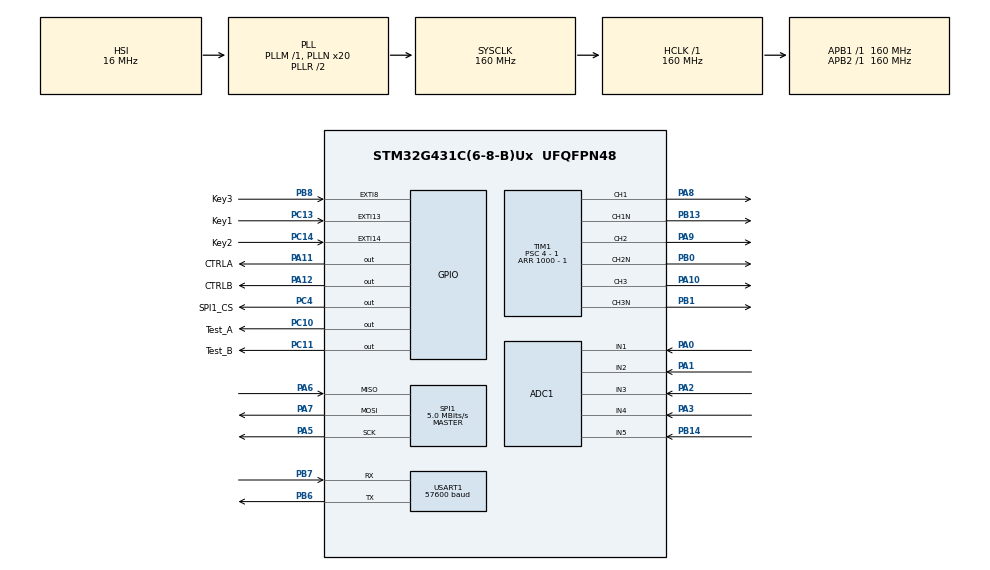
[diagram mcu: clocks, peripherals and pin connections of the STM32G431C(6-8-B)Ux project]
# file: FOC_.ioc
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ADC1.Channel-0\#ChannelRegularConversion=ADC_CHANNEL_3
ADC1.Channel-1\#ChannelRegularConversion=ADC_CHANNEL_4
ADC1.Channel-2\#ChannelRegularConversion=ADC_CHANNEL_5
ADC1.Channel-3\#ChannelRegularConversion=ADC_CHANNEL_1
ADC1.Channel-4\#ChannelRegularConversion=ADC_CHANNEL_2
ADC1.ClockPrescaler=ADC_CLOCK_ASYNC_DIV4
ADC1.ContinuousConvMode=ENABLE
ADC1.DMAContinuousRequests=ENABLE
ADC1.NbrOfConversion=5
ADC1.NbrOfConversionFlag=1
ADC1.OffsetNumber-0\#ChannelRegularConversion=ADC_OFFSET_NONE
ADC1.OffsetNumber-1\#ChannelRegularConversion=ADC_OFFSET_NONE
ADC1.OffsetNumber-2\#ChannelRegularConversion=ADC_OFFSET_NONE
ADC1.OffsetNumber-3\#ChannelRegularConversion=ADC_OFFSET_NONE
ADC1.OffsetNumber-4\#ChannelRegularConversion=ADC_OFFSET_NONE
ADC1.Rank-0\#ChannelRegularConversion=1
ADC1.Rank-1\#ChannelRegularConversion=2
ADC1.Rank-2\#ChannelRegularConversion=3
ADC1.Rank-3\#ChannelRegularConversion=4
ADC1.Rank-4\#ChannelRegularConversion=5
ADC1.SamplingTime-0\#ChannelRegularConversion=ADC_SAMPLETIME_92CYCLES_5
ADC1.SamplingTime-1\#ChannelRegularConversion=ADC_SAMPLETIME_92CYCLES_5
ADC1.SamplingTime-2\#ChannelRegularConversion=ADC_SAMPLETIME_92CYCLES_5
ADC1.SamplingTime-3\#ChannelRegularConversion=ADC_SAMPLETIME_92CYCLES_5
ADC1.SamplingTime-4\#ChannelRegularConversion=ADC_SAMPLETIME_92CYCLES_5
ADC1.master=1
Dma.ADC1.0.Direction=DMA_PERIPH_TO_MEMORY
Dma.ADC1.0.EventEnable=DISABLE
Dma.ADC1.0.Instance=DMA2_Channel1
Dma.ADC1.0.MemDataAlignment=DMA_MDATAALIGN_HALFWORD
Dma.ADC1.0.MemInc=DMA_MINC_ENABLE
Dma.ADC1.0.Mode=DMA_CIRCULAR
Dma.ADC1.0.PeriphDataAlignment=DMA_PDATAALIGN_HALFWORD
Dma.ADC1.0.PeriphInc=DMA_PINC_DISABLE
Dma.ADC1.0.Polarity=HAL_DMAMUX_REQ_GEN_RISING
Dma.ADC1.0.Priority=DMA_PRIORITY_VERY_HIGH
Dma.ADC1.0.RequestNumber=1
Dma.ADC1.0.SignalID=NONE
Dma.ADC1.0.SyncEnable=DISABLE
Dma.ADC1.0.SyncPolarity=HAL_DMAMUX_SYNC_NO_EVENT
Dma.ADC1.0.SyncRequestNumber=1
Dma.ADC1.0.SyncSignalID=NONE
Dma.Request0=ADC1
Dma.Request1=SPI1_RX
Dma.Request2=SPI1_TX
Dma.SPI1_RX.1.Direction=DMA_PERIPH_TO_MEMORY
Dma.SPI1_RX.1.EventEnable=DISABLE
Dma.SPI1_RX.1.Instance=DMA1_Channel1
Dma.SPI1_RX.1.MemDataAlignment=DMA_MDATAALIGN_HALFWORD
Dma.SPI1_RX.1.MemInc=DMA_MINC_ENABLE
Dma.SPI1_RX.1.Mode=DMA_NORMAL
Dma.SPI1_RX.1.PeriphDataAlignment=DMA_PDATAALIGN_HALFWORD
Dma.SPI1_RX.1.PeriphInc=DMA_PINC_DISABLE
Dma.SPI1_RX.1.Polarity=HAL_DMAMUX_REQ_GEN_RISING
Dma.SPI1_RX.1.Priority=DMA_PRIORITY_MEDIUM
Dma.SPI1_RX.1.RequestNumber=1
Dma.SPI1_RX.1.SignalID=NONE
Dma.SPI1_RX.1.SyncEnable=DISABLE
Dma.SPI1_RX.1.SyncPolarity=HAL_DMAMUX_SYNC_NO_EVENT
Dma.SPI1_RX.1.SyncRequestNumber=1
Dma.SPI1_RX.1.SyncSignalID=NONE
Dma.SPI1_TX.2.Direction=DMA_MEMORY_TO_PERIPH
Dma.SPI1_TX.2.EventEnable=DISABLE
Dma.SPI1_TX.2.Instance=DMA1_Channel2
Dma.SPI1_TX.2.MemDataAlignment=DMA_MDATAALIGN_HALFWORD
Dma.SPI1_TX.2.MemInc=DMA_MINC_ENABLE
Dma.SPI1_TX.2.Mode=DMA_NORMAL
Dma.SPI1_TX.2.PeriphDataAlignment=DMA_PDATAALIGN_HALFWORD
Dma.SPI1_TX.2.PeriphInc=DMA_PINC_DISABLE
Dma.SPI1_TX.2.Polarity=HAL_DMAMUX_REQ_GEN_RISING
Dma.SPI1_TX.2.Priority=DMA_PRIORITY_MEDIUM
Dma.SPI1_TX.2.RequestNumber=1
Dma.SPI1_TX.2.SignalID=NONE
Dma.SPI1_TX.2.SyncEnable=DISABLE
Dma.SPI1_TX.2.SyncPolarity=HAL_DMAMUX_SYNC_NO_EVENT
Dma.SPI1_TX.2.SyncRequestNumber=1
Dma.SPI1_TX.2.SyncSignalID=NONE
Mcu.Family=STM32G4
Mcu.Name=STM32G431C(6-8-B)Ux
Mcu.Package=UFQFPN48
NVIC.ADC1_2_IRQn=true\:1\:0\:true\:false\:true\:true\:true\:true
NVIC.DMA1_Channel1_IRQn=true\:0\:0\:false\:false\:true\:false\:true\:true
NVIC.DMA1_Channel2_IRQn=true\:0\:0\:false\:false\:true\:false\:true\:true
NVIC.DMA2_Channel1_IRQn=true\:0\:0\:false\:false\:true\:false\:true\:true
NVIC.EXTI15_10_IRQn=true\:0\:0\:false\:false\:true\:true\:true\:true
NVIC.EXTI9_5_IRQn=true\:0\:0\:false\:false\:true\:true\:true\:true
NVIC.PriorityGroup=NVIC_PRIORITYGROUP_2
NVIC.SPI1_IRQn=true\:0\:0\:true\:false\:true\:true\:true\:true
NVIC.TIM1_BRK_TIM15_IRQn=true\:0\:0\:false\:false\:true\:true\:true\:true
NVIC.TIM2_IRQn=true\:2\:0\:true\:false\:true\:true\:true\:true
NVIC.TIM3_IRQn=true\:1\:1\:true\:false\:true\:true\:true\:true
NVIC.TIM4_IRQn=true\:0\:0\:false\:false\:true\:true\:true\:true
NVIC.USART1_IRQn=true\:0\:0\:false\:false\:true\:true\:true\:true
PA0.Mode=IN1-Single-Ended
PA0.Signal=ADC1_IN1
PA1.Mode=IN2-Single-Ended
PA1.Signal=ADC1_IN2
PA10.Signal=S_TIM1_CH3
PA11.GPIO_Label=CTRLA
PA11.GPIO_ModeDefaultOutputPP=GPIO_MODE_OUTPUT_PP
PA11.GPIO_PuPd=GPIO_PULLUP
PA11.PinState=GPIO_PIN_SET
PA11.Signal=GPIO_Output
PA12.GPIO_Label=CTRLB
PA12.GPIO_ModeDefaultOutputPP=GPIO_MODE_OUTPUT_PP
PA12.GPIO_PuPd=GPIO_PULLDOWN
PA12.Signal=GPIO_Output
PA13.Mode=Serial_Wire
PA13.Signal=SYS_JTMS-SWDIO
PA14.Mode=Serial_Wire
PA14.Signal=SYS_JTCK-SWCLK
PA2.Mode=IN3-Single-Ended
PA2.Signal=ADC1_IN3
PA3.Mode=IN4-Single-Ended
PA3.Signal=ADC1_IN4
PA5.GPIO_Speed=GPIO_SPEED_FREQ_VERY_HIGH
PA5.Mode=Full_Duplex_Master
PA5.Signal=SPI1_SCK
PA6.GPIO_Speed=GPIO_SPEED_FREQ_VERY_HIGH
PA6.Mode=Full_Duplex_Master
PA6.Signal=SPI1_MISO
PA7.GPIO_Speed=GPIO_SPEED_FREQ_VERY_HIGH
PA7.Mode=Full_Duplex_Master
PA7.Signal=SPI1_MOSI
PA8.Signal=S_TIM1_CH1
PA9.Signal=S_TIM1_CH2
PB0.Mode=PWM Generation2 CH2 CH2N
PB0.Signal=TIM1_CH2N
PB1.Mode=PWM Generation3 CH3 CH3N
PB1.Signal=TIM1_CH3N
PB13.Mode=PWM Generation1 CH1 CH1N
PB13.Signal=TIM1_CH1N
PB14.Mode=IN5-Single-Ended
PB14.Signal=ADC1_IN5
PB6.Mode=Asynchronous
PB6.Signal=USART1_TX
PB7.Mode=Asynchronous
PB7.Signal=USART1_RX
PB8-BOOT0.GPIO_Label=Key3
PB8-BOOT0.GPIO_ModeDefaultEXTI=GPIO_MODE_IT_RISING
PB8-BOOT0.Signal=GPXTI8
PC10.GPIO_Label=Test_A
PC10.Signal=GPIO_Output
PC11.GPIO_Label=Test_B
PC11.Signal=GPIO_Output
PC13.GPIO_Label=Key1
PC13.GPIO_ModeDefaultEXTI=GPIO_MODE_IT_FALLING
PC13.GPIO_PuPd=GPIO_PULLUP
PC13.Signal=GPXTI13
PC14-OSC32_IN.GPIO_Label=Key2
PC14-OSC32_IN.GPIO_ModeDefaultEXTI=GPIO_MODE_IT_FALLING
PC14-OSC32_IN.GPIO_PuPd=GPIO_PULLUP
PC14-OSC32_IN.Signal=GPXTI14
PC4.GPIO_Label=SPI1_CS
PC4.PinState=GPIO_PIN_SET
PC4.Signal=GPIO_Output
PF0-OSC_IN.Mode=HSE-External-Oscillator
PF0-OSC_IN.Signal=RCC_OSC_IN
PF1-OSC_OUT.Mode=HSE-External-Oscillator
PF1-OSC_OUT.Signal=RCC_OSC_OUT
ProjectManager.HeapSize=0x200
ProjectManager.StackSize=0x400
ProjectManager.TargetToolchain=MDK-ARM V5.32
RCC.ADC12Freq_Value=160000000
RCC.AHBFreq_Value=160000000
RCC.APB1Freq_Value=160000000
RCC.APB1TimFreq_Value=160000000
RCC.APB2Freq_Value=160000000
RCC.APB2TimFreq_Value=160000000
RCC.CortexFreq_Value=160000000
RCC.EXTERNAL_CLOCK_VALUE=12288000
RCC.HCLKFreq_Value=160000000
RCC.HSE_VALUE=8000000
RCC.HSI48_VALUE=48000000
RCC.HSI_VALUE=16000000
RCC.LSE_VALUE=32768
RCC.PLLN=20
RCC.SYSCLKFreq_VALUE=160000000
RCC.SYSCLKSource=RCC_SYSCLKSOURCE_PLLCLK
RCC.USBFreq_Value=160000000
RCC.VCOOutputFreq_Value=320000000
SH.S_TIM1_CH1.0=TIM1_CH1,PWM Generation1 CH1 CH1N
SH.S_TIM1_CH2.0=TIM1_CH2,PWM Generation2 CH2 CH2N
SH.S_TIM1_CH3.0=TIM1_CH3,PWM Generation3 CH3 CH3N
SPI1.BaudRatePrescaler=SPI_BAUDRATEPRESCALER_32
SPI1.CLKPhase=SPI_PHASE_2EDGE
SPI1.CalculateBaudRate=5.0 MBits/s
SPI1.DataSize=SPI_DATASIZE_16BIT
SPI1.Direction=SPI_DIRECTION_2LINES
SPI1.Mode=SPI_MODE_MASTER
SPI1.VirtualType=VM_MASTER
TIM1.AutoReloadPreload=TIM_AUTORELOAD_PRELOAD_ENABLE
TIM1.Channel-PWM\ Generation1\ CH1\ CH1N=TIM_CHANNEL_1
TIM1.Channel-PWM\ Generation2\ CH2\ CH2N=TIM_CHANNEL_2
TIM1.Channel-PWM\ Generation3\ CH3\ CH3N=TIM_CHANNEL_3
TIM1.ClockDivision=TIM_CLOCKDIVISION_DIV1
TIM1.CounterMode=TIM_COUNTERMODE_CENTERALIGNED3
TIM1.OCMode_PWM-PWM\ Generation1\ CH1\ CH1N=TIM_OCMODE_PWM2
TIM1.OCMode_PWM-PWM\ Generation2\ CH2\ CH2N=TIM_OCMODE_PWM2
TIM1.OCMode_PWM-PWM\ Generation3\ CH3\ CH3N=TIM_OCMODE_PWM2
TIM1.OCNPolarity_1=TIM_OCNPOLARITY_HIGH
TIM1.PeriodNoDither=1000 - 1
TIM1.Prescaler=4 - 1
TIM1.RepetitionCounter=0
TIM15.ClockDivision=TIM_CLOCKDIVISION_DIV4
TIM15.PeriodNoDither=10000 - 1
TIM15.Prescaler=20 -1 
TIM2.AutoReloadPreload=TIM_AUTORELOAD_PRELOAD_ENABLE
TIM2.PeriodNoDither=2000 - 1
TIM2.Prescaler=16 - 1
TIM3.AutoReloadPreload=TIM_AUTORELOAD_PRELOAD_ENABLE
TIM3.PeriodNoDither=1000 - 1
TIM3.Prescaler=16 - 1
TIM4.PeriodNoDither=10000 - 1
TIM4.Prescaler=16 - 1
USART1.BaudRate=57600
USART1.VirtualMode-Asynchronous=VM_ASYNC
VP_SYS_VS_DBSignals.Mode=DisableDeadBatterySignals
VP_SYS_V_VREFBUF.Mode=ExternalMode
VP_TIM15_VS_ClockSourceINT.Mode=Internal
VP_TIM1_VS_ClockSourceINT.Mode=Internal
VP_TIM2_VS_ClockSourceINT.Mode=Internal
VP_TIM3_VS_ClockSourceINT.Mode=Internal
VP_TIM4_VS_ClockSourceINT.Mode=Internal
board=custom

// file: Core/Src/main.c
/* USER CODE BEGIN Header */
/**
  ******************************************************************************
  * @file           : main.c
  * @brief          : Main program body
  ******************************************************************************
  * @details
  *
  *   -  工程名称：FOC_
  *   -  功能描述：基于STM32G431与HAL库的无刷电机有感FOC控制
  *   -  作者   ：王灏(qq:3265809330)
  *   -  日期   ：2025-06-04
  *   -  版本   ：v1.0
  *
  * @note
  *   -  简介   ：为 "厚米FOC" 无刷电机控制板开发的FOC控制程序,板卡购买请联系作者QQ
  *   -  主要传感器或控制器：INA199、AS5048A、FD6288Q、TLV9062、TPS56302等
  *
  ******************************************************************************
  */
/* USER CODE END Header */
#include "main.h"
#include "adc.h"
#include "dma.h"
#include "spi.h"
#include "tim.h"
#include "usart.h"
#include "gpio.h"

/* USER CODE BEGIN Includes */
#include "arm_math.h"
#include "test.h"
#include "Signalprocess.h"
#include "controller.h"
#include "svpwm.h"
#include "serial.h"
#include "stdio.h"
#include "string.h"
/* USER CODE END Includes */

/* USER CODE BEGIN PV */

int8_t   d1 = -1;
uint16_t d0 =  0;
AnalogTypeDef Analog_InitStructure;
SVPWMTypeDef SVPWM_InitStructure;
CurrentPITypeDef hpi_current;
SpeedPITypeDef hpi_speed;
AngelPITypeDef hpi_angel;
uint8_t rx_Data[4] = {0,0,0,0};
float prob[3] = {0,0,0};

/* USER CODE END PV */

void SystemClock_Config(void);

/* USER CODE BEGIN 0 */

//定时中断回调函数
void HAL_TIM_PeriodElapsedCallback(TIM_HandleTypeDef *htim)
{
	if(htim == &htim2)    //5KHZ(200us) FOC力矩环(电流环)控制频率
	{
   Current_transform(&Analog_InitStructure,1.859,0.03);
   //prop1:电流采集归算系数，由采样电阻,电流互感器增益,ADC参考电源等参数计算,将电流单位归算为 mA
   //prop2:电流采集低通滤波系数,数值越小,电流波形越平滑
    //约7.9us
    Iabc_to_Idq(&Analog_InitStructure);
    PI_Current_pos(&hpi_current,Analog_InitStructure.Idq,Analog_InitStructure.Udq);    //(Id_ref,Iq_ref) + (Id,Iq) ---(PI)--->Ud,Uq
    //代码执行时间为5.9us
    SVPWM_GENER(Analog_InitStructure.Udq,Analog_InitStructure.elec_angle,&SVPWM_InitStructure,&htim1,prob); //inv_Park
  }

  if(htim == &htim3)  //10KHz  角度刷新频率
	{
    d0 ++;
    AS5048A_Init(&hspi1,&Analog_InitStructure.AS5048A_get);

	}

  if(htim == &htim4)  //1KHz  速度环运算频率
	{
    //对角度进行微分计算速度，内置一阶低通滤波器(滤波阶数还是小一点比较好)
     Analog_InitStructure.speed = speed_get(Analog_InitStructure.mech_angle,1000.0,3.1415,0.05);
     hpi_current.Iq_target = PI_Speed_pos(&hpi_speed,Analog_InitStructure.speed);
	}

  if(htim == &htim15) //200Hz 角度环运算频率
  {
    //hpi_speed.speed_target = PI_Angel_pos(&hpi_angel,Analog_InitStructure.mech_angle);
  }
}

//ADC_DMA传递完成回调函数
void HAL_ADC_ConvCpltCallback(ADC_HandleTypeDef *hadc)
{
	if (hadc == &hadc1)
  {
    //刷新时间最大约10us  100KHz
  }
}

void HAL_SPI_TxRxCpltCallback(SPI_HandleTypeDef *hspi)
{
  if (hspi == &hspi1)
  {

    HAL_GPIO_WritePin(SPI1_CS_GPIO_Port, SPI1_CS_Pin, GPIO_PIN_SET);    //CS引脚上拉,对数据处理期间停止读取角度
    //机械角度,3.762为编码器零点与电机零点之间的偏移角,估算值非精确值
    Analog_InitStructure.mech_angle = absolute_angle(Analog_InitStructure.AS5048A_get) + 3.762f;
    //电流闭环使用电角度,电角度 = 极对数 * 机械角度
    Analog_InitStructure.elec_angle = POLEPAIR * Analog_InitStructure.mech_angle;

  }
}

void HAL_UART_TxCpltCallback (UART_HandleTypeDef *huart)
{
  if (huart == &huart1)
  {

  }
}

void HAL_UART_RxCpltCallback(UART_HandleTypeDef *huart)
{
   if (huart == &huart1)
   {

     Speed_RX_Analysis((uint8_t*)rx_Data,&hpi_speed);     //串口指令解析,速度环调参
     HAL_UART_Transmit_IT(&huart1,(uint8_t *)rx_Data,4);  //指令回显
     HAL_UART_Receive_IT(&huart1,(uint8_t *)rx_Data,4);   //手动使能串口接收中断

   }
}
//外部中断
void HAL_GPIO_EXTI_Callback(uint16_t GPIO_Pin)
{
  if (GPIO_Pin == Key1_Pin)  //Key1作用:开启电机总线电压;使能电机电流环,角度读取,速度环,角度环;通过标志位d1使能不同的打印任务
  {

    LEDA_set(GPIO_PIN_RESET);     //蓝灯OFF
    LEDB_set(GPIO_PIN_SET);       //黄灯ON
    CTRLA_VBUS(VBUS_ON);          //电机总线电压开启

   HAL_TIM_Base_Start_IT(&htim2);        //TIM2定时中断开启,5KHz,电流环
   HAL_TIM_Base_Start_IT(&htim3);        //TIM3定时中断开启,10KHz,角度刷新
   HAL_TIM_Base_Start_IT(&htim4);        //TIM4定时中断开启,1KHz,速度环
   HAL_TIM_Base_Start_IT(&htim15);       //TIM15定时中断开启200Hz,角度环
    d1 ++;
    d1 %= 6;
  }

  else if (GPIO_Pin == Key2_Pin)  //Key2作用:直接关闭电机总线电压;关闭电机电流环,速度环,角度环;通过标志位d1执行特定的打印任务
  {
    LEDA_set(GPIO_PIN_SET);              //蓝灯ON
    LEDB_set(GPIO_PIN_RESET);            //黄灯OFF
    CTRLA_VBUS(VBUS_OFF);                //电机总线电压关闭
    HAL_TIM_Base_Stop_IT(&htim2);        //TIM2定时中断关闭
    HAL_TIM_Base_Stop_IT(&htim4);        //TIM4定时中断关闭
    HAL_TIM_Base_Stop_IT(&htim15);       //TIM15定时中断关闭
    d1 = 6;

  }

  else if (GPIO_Pin == Key3_Pin)  //BOOT0(PB8)引脚复用按键,通过引脚d1执行特定的打印任务
  {
   d1 = 7;
  }
}
/**********************************************************************************/

/* USER CODE END 0 */

int main(void)
{

  /* MCU Configuration--------------------------------------------------------*/

  /* Reset of all peripherals, Initializes the Flash interface and the Systick. */
  HAL_Init();

  /* Configure the system clock */
  SystemClock_Config();

  /* Initialize all configured peripherals */
  MX_GPIO_Init();
  MX_DMA_Init();
  MX_ADC1_Init();
  MX_SPI1_Init();
  MX_TIM1_Init();
  MX_USART1_UART_Init();
  MX_TIM2_Init();
  MX_TIM3_Init();
  MX_TIM4_Init();
  MX_TIM15_Init();
  /* USER CODE BEGIN 2 */

  AS5048A_Init(&hspi1,&Analog_InitStructure.AS5048A_get);    //编码器初始化
  Analog_Init(&Analog_InitStructure);                        //模拟量初始化

  SVPWM_Init(&SVPWM_InitStructure);     //SVPWM参数初始化
  Current_PI_Init(&hpi_current);        //电流环参数初始化
  Speed_PI_Init(&hpi_speed);            //速度环参数初始化
 // Angel_PI_Init(&hpi_angel);            //角度环参数初始化

  ADC_Init(&hadc1,Analog_InitStructure.ADC_get);     //ADC校准&DMA通道连续转换模式
  PWM_Enable(&htim1);                                //TIM1 PWM模式初始化
  HAL_UART_Receive_IT(&huart1,(uint8_t *)rx_Data,4); //串口接收中断使能,用于动态调参
  /* USER CODE END 2 */

  /* Infinite loop */
  while (1)
  {

    /* USER CODE BEGIN 3 */
    if (d0 == 100)      //串口打印，周期为ms级，放到主循环
     {
       d0 = 0;
       Data_print(&huart1,hpi_speed,prob,Analog_InitStructure,&d1);
      }
  }
  /* USER CODE END 3 */
}

void SystemClock_Config(void)
{
  RCC_OscInitTypeDef RCC_OscInitStruct = {0};
  RCC_ClkInitTypeDef RCC_ClkInitStruct = {0};

  /** Configure the main internal regulator output voltage
  */
  HAL_PWREx_ControlVoltageScaling(PWR_REGULATOR_VOLTAGE_SCALE1_BOOST);

  /** Initializes the RCC Oscillators according to the specified parameters
  * in the RCC_OscInitTypeDef structure.
  */
  RCC_OscInitStruct.OscillatorType = RCC_OSCILLATORTYPE_HSI;
  RCC_OscInitStruct.HSIState = RCC_HSI_ON;
  RCC_OscInitStruct.HSICalibrationValue = RCC_HSICALIBRATION_DEFAULT;
  RCC_OscInitStruct.PLL.PLLState = RCC_PLL_ON;
  RCC_OscInitStruct.PLL.PLLSource = RCC_PLLSOURCE_HSI;
  RCC_OscInitStruct.PLL.PLLM = RCC_PLLM_DIV1;
  RCC_OscInitStruct.PLL.PLLN = 20;
  RCC_OscInitStruct.PLL.PLLP = RCC_PLLP_DIV2;
  RCC_OscInitStruct.PLL.PLLQ = RCC_PLLQ_DIV2;
  RCC_OscInitStruct.PLL.PLLR = RCC_PLLR_DIV2;
  if (HAL_RCC_OscConfig(&RCC_OscInitStruct) != HAL_OK)
  {
    Error_Handler();
  }

  /** Initializes the CPU, AHB and APB buses clocks
  */
  RCC_ClkInitStruct.ClockType = RCC_CLOCKTYPE_HCLK|RCC_CLOCKTYPE_SYSCLK
                              |RCC_CLOCKTYPE_PCLK1|RCC_CLOCKTYPE_PCLK2;
  RCC_ClkInitStruct.SYSCLKSource = RCC_SYSCLKSOURCE_PLLCLK;
  RCC_ClkInitStruct.AHBCLKDivider = RCC_SYSCLK_DIV1;
  RCC_ClkInitStruct.APB1CLKDivider = RCC_HCLK_DIV1;
  RCC_ClkInitStruct.APB2CLKDivider = RCC_HCLK_DIV1;

  if (HAL_RCC_ClockConfig(&RCC_ClkInitStruct, FLASH_LATENCY_4) != HAL_OK)
  {
    Error_Handler();
  }
}

void Error_Handler(void)
{
  __disable_irq();
  while (1)
  {
  }
}
